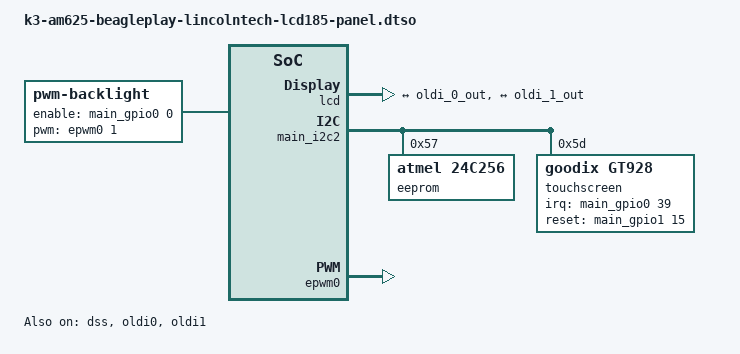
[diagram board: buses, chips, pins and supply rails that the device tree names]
// SPDX-License-Identifier: GPL-2.0-or-later OR MIT
/**
 * Lincoln tech Solutions OLDI panel (LCD185-101CT) and touch DT overlay for AM625-BeaglePlay
 *
 * Copyright (C) 2026 Texas Instruments Incorporated - https://www.ti.com/
 */

/dts-v1/;
/plugin/;

#include <dt-bindings/gpio/gpio.h>
#include <dt-bindings/interrupt-controller/irq.h>
#include "k3-pinctrl.h"

&{/} {
	backlight: backlight {
		compatible = "pwm-backlight";
		pinctrl-names = "default";
		pinctrl-0 = <&backlight_pins_default>;
		brightness-levels = <0 4 8 16 32 64 128 255>;
		default-brightness-level = <6>;
		enable-gpios = <&main_gpio0 0 GPIO_ACTIVE_HIGH>;
		pwms = <&epwm0 1 20000 0>;
	};

	lcd {
		compatible = "lincolntech,lcd185-101ct";
		backlight = <&backlight>;
		/*
		* Note that the OLDI TX 0 transmits the odd set of pixels
		* while the OLDI TX 1 transmits the even set. This is a
		* fixed configuration in the IP integration and is not
		* changeable. The properties, "dual-lvds-odd-pixels" and
		* "dual-lvds-even-pixels" have been used to merely
		* identify if a Dual Link configuration is required.
		* Swapping them will cause an error in the dss oldi driver.
		*/
		power-supply = <&vsys_5v0>;
		ports {
			#address-cells = <1>;
			#size-cells = <0>;

			port@0 {
				reg = <0>;
				dual-lvds-odd-pixels;
				lcd_in0: endpoint {
					remote-endpoint = <&oldi_0_out>;
				};
			};
			port@1 {
				reg = <1>;
				dual-lvds-even-pixels;
				lcd_in1: endpoint {
					remote-endpoint = <&oldi_1_out>;
				};
			};
		};
	};
};

&main_pmx0 {
	touchscreen_pins_default: touchscreen-default-pins {
		pinctrl-single,pins = <
			AM62X_IOPAD(0x01b4, PIN_OUTPUT, 7) /* (A13) SPI0_CS0.GPIO1_15 */
			AM62X_IOPAD(0x00a0, PIN_INPUT, 7) /* (K25) GPMC0_WPn.GPIO0_39 */
		>;
	};

	backlight_pins_default: bl-default-pins {
		pinctrl-single,pins = <
			AM62X_IOPAD(0x0000, PIN_OUTPUT, 7) /* (H24) OSPI0_CLK.GPIO0_0 */
			AM62X_IOPAD(0x01b8, PIN_OUTPUT, 2) /* (C13) SPI0_CS1.EHRPWM0_B */
		>;
	};
};

&dss {
	status = "okay";
};

&oldi0 {
	status = "okay";
	ti,companion-oldi = <&oldi1>;
};

&oldi1 {
	status = "okay";
	ti,secondary-oldi;
	ti,companion-oldi = <&oldi0>;
};

&oldi0_port0 {
	oldi_0_in: endpoint {
		remote-endpoint = <&dpi0_out0>;
	};
};

&oldi0_port1 {
	oldi_0_out: endpoint {
		remote-endpoint = <&lcd_in0>;
	};
};

&oldi1_port0 {
	oldi_1_in: endpoint {
		remote-endpoint = <&dpi0_out1>;
	};
};

&oldi1_port1 {
	oldi_1_out: endpoint {
		remote-endpoint = <&lcd_in1>;
	};
};

&dss_ports {
	#address-cells = <1>;
	#size-cells = <0>;

	/* VP1: Output to OLDI */
	port@0 {
		reg = <0>;
		#address-cells = <1>;
		#size-cells = <0>;

		dpi0_out0: endpoint@0 {
			reg = <0>;
			remote-endpoint = <&oldi_0_in>;
		};
		dpi0_out1: endpoint@1 {
			reg = <1>;
			remote-endpoint = <&oldi_1_in>;
		};
	};
};

&main_i2c2 {
	#address-cells = <1>;
	#size-cells = <0>;

	eeprom@57 {
		compatible = "atmel,24c256";
		reg = <0x57>;
	};

	touchscreen@5d {
		compatible = "goodix,gt928";
		reg = <0x5d>;
		pinctrl-names = "default";
		pinctrl-0 = <&touchscreen_pins_default>;
		interrupt-parent = <&main_gpio0>;
		interrupts = <39 IRQ_TYPE_EDGE_FALLING>;
		irq-gpios = <&main_gpio0 39 GPIO_ACTIVE_HIGH>;
		reset-gpios = <&main_gpio1 15 GPIO_ACTIVE_HIGH>;
		touchscreen-size-x = <1920>;
		touchscreen-size-y = <1200>;
	};
};

&epwm0 {
	status = "okay";
};
